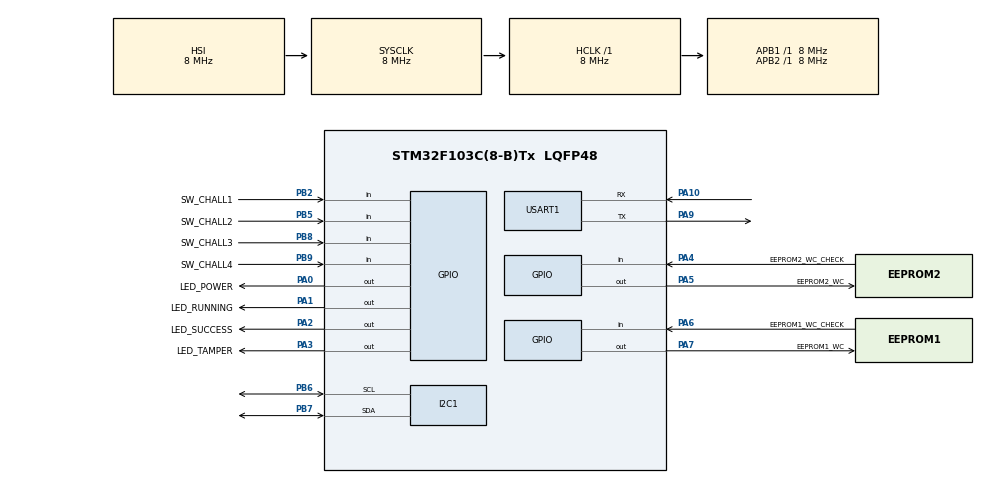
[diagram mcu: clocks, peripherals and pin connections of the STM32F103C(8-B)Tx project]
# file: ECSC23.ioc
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Mcu.Family=STM32F1
Mcu.Name=STM32F103C(8-B)Tx
Mcu.Package=LQFP48
NVIC.PriorityGroup=NVIC_PRIORITYGROUP_4
NVIC.USART1_IRQn=true\:1\:0\:true\:false\:true\:true\:true\:true
PA0-WKUP.GPIO_Label=LED_POWER
PA0-WKUP.PinState=GPIO_PIN_SET
PA0-WKUP.Signal=GPIO_Output
PA1.GPIO_Label=LED_RUNNING
PA1.Signal=GPIO_Output
PA10.Mode=Asynchronous
PA10.Signal=USART1_RX
PA13.Mode=Serial_Wire
PA13.Signal=SYS_JTMS-SWDIO
PA14.Mode=Serial_Wire
PA14.Signal=SYS_JTCK-SWCLK
PA2.GPIO_Label=LED_SUCCESS
PA2.Signal=GPIO_Output
PA3.GPIO_Label=LED_TAMPER
PA3.Signal=GPIO_Output
PA4.GPIO_Label=EEPROM2_WC_CHECK
PA4.Signal=GPIO_Input
PA5.GPIO_Label=EEPROM2_WC
PA5.PinState=GPIO_PIN_SET
PA5.Signal=GPIO_Output
PA6.GPIO_Label=EEPROM1_WC_CHECK
PA6.Signal=GPIO_Input
PA7.GPIO_Label=EEPROM1_WC
PA7.PinState=GPIO_PIN_SET
PA7.Signal=GPIO_Output
PA9.Mode=Asynchronous
PA9.Signal=USART1_TX
PB2.GPIO_Label=SW_CHALL1
PB2.Signal=GPIO_Input
PB5.GPIO_Label=SW_CHALL2
PB5.GPIO_PuPd=GPIO_PULLUP
PB5.Signal=GPIO_Input
PB6.Mode=I2C
PB6.Signal=I2C1_SCL
PB7.Mode=I2C
PB7.Signal=I2C1_SDA
PB8.GPIO_Label=SW_CHALL3
PB8.GPIO_PuPd=GPIO_PULLUP
PB8.Signal=GPIO_Input
PB9.GPIO_Label=SW_CHALL4
PB9.GPIO_PuPd=GPIO_PULLUP
PB9.Signal=GPIO_Input
ProjectManager.HeapSize=0x200
ProjectManager.StackSize=0x400
ProjectManager.TargetToolchain=Makefile
RCC.AHBFreq_Value=8000000
RCC.APB1Freq_Value=8000000
RCC.APB1TimFreq_Value=8000000
RCC.APB2Freq_Value=8000000
RCC.APB2TimFreq_Value=8000000
RCC.HCLKFreq_Value=8000000
RCC.PLLMUL=RCC_PLL_MUL16
RCC.SYSCLKFreq_VALUE=8000000
RCC.USBFreq_Value=64000000
USART1.VirtualMode=VM_ASYNC
board=custom

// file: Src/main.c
/* USER CODE BEGIN Header */
/**
  ******************************************************************************
  * @file           : main.c
  * @brief          : Main program body
  ******************************************************************************
  * @attention
  *
  * Copyright (c) 2023 STMicroelectronics.
  * All rights reserved.
  *
  * This software is licensed under terms that can be found in the LICENSE file
  * in the root directory of this software component.
  * If no LICENSE file comes with this software, it is provided AS-IS.
  *
  ******************************************************************************
  */
/* USER CODE END Header */
#include "main.h"
#include "i2c.h"
#include "usart.h"
#include "gpio.h"

/* USER CODE BEGIN Includes */
#include "security.h"
#include "print.h"
#include "chall1.h"
#include "chall2.h"
#include "chall3.h"
#include "chall4.h"
#include "eeprom.h"
/* USER CODE END Includes */

/* USER CODE BEGIN PV */
volatile int chosen_chall = -1;
/* USER CODE END PV */

void SystemClock_Config(void);

int main(void)
{
  /* USER CODE BEGIN 1 */
  disable_swd();
  /* USER CODE END 1 */

  /* MCU Configuration--------------------------------------------------------*/

  /* Reset of all peripherals, Initializes the Flash interface and the Systick. */
  HAL_Init();

  /* USER CODE BEGIN Init */
  disable_swd();
  /* USER CODE END Init */

  /* Configure the system clock */
  SystemClock_Config();

  /* Initialize all configured peripherals */
  MX_GPIO_Init();
  MX_I2C1_Init();
  MX_USART1_UART_Init();
  /* USER CODE BEGIN 2 */

#ifdef DEBUG
  uart_printf("DEBUG - Build timestamp - %s@%s\r\n", __DATE__, __TIME__);

  uint32_t uid0 = HAL_GetUIDw0();
  uint32_t uid1 = HAL_GetUIDw1();
  uint32_t uid2 = HAL_GetUIDw2();

  uart_printf("DEBUG - HW UID: 0x%08X 0x%08X 0x%08X\r\n", uid0, uid1, uid2);
  uart_printf("DEBUG - FPB regs: 0x%08X 0x%08X 0x%08X 0x%08X\r\n", *(uint32_t*)0xe0002000, *(uint32_t*)0xe0002004, *(uint32_t*)0xe0002008, *(uint32_t*)0xe000200c);
#endif

  check:
  if (HAL_GPIO_ReadPin(SW_CHALL1_GPIO_Port, SW_CHALL1_Pin) && chosen_chall == -1) {
    HAL_GPIO_WritePin(GPIOA, LED_RUNNING_Pin, GPIO_PIN_SET);
    if (chosen_chall != -1) { goto check; }
    uart_printf("Starting challenge 1\r\n");
    if (chosen_chall != -1) { goto check; }
    chosen_chall = 1;
    chall1();
  } else if (HAL_GPIO_ReadPin(SW_CHALL2_GPIO_Port, SW_CHALL2_Pin) && chosen_chall == -1) {
    HAL_GPIO_WritePin(GPIOA, LED_RUNNING_Pin, GPIO_PIN_SET);
    if (chosen_chall != -1) { goto check; }
    uart_printf("Starting challenge 2\r\n");
    if (chosen_chall != -1) { goto check; }
    chosen_chall = 2;
    chall2();
  } else if (HAL_GPIO_ReadPin(SW_CHALL3_GPIO_Port, SW_CHALL3_Pin) && chosen_chall == -1) {
    HAL_GPIO_WritePin(GPIOA, LED_RUNNING_Pin, GPIO_PIN_SET);
    if (chosen_chall != -1) { goto check; }
    uart_printf("Starting challenge 3\r\n");
    if (chosen_chall != -1) { goto check; }
    chosen_chall = 3;
    chall3();
  } else if (HAL_GPIO_ReadPin(SW_CHALL4_GPIO_Port, SW_CHALL4_Pin) && chosen_chall == -1) {
    HAL_GPIO_WritePin(GPIOA, LED_RUNNING_Pin, GPIO_PIN_SET);
    if (chosen_chall != -1) { goto check; }
    uart_printf("Starting challenge 4\r\n");
    if (chosen_chall != -1) { goto check; }
    chosen_chall = 4;
    chall4();
  } else {
    uart_printf("Hold one of the 4 challenge buttons to start them\r\n");

    uint8_t first_byte;
    if (eeprom_read(&first_byte, EEPROM2_ADDR, EEPROM_LEN-1, 1) == HAL_OK && first_byte == 0xFF) {
      uart_printf("EEPROM contents are corrupted. Restoring.\r\n");
      eeprom_restore();
    }

    HAL_GPIO_WritePin(GPIOA, LED_RUNNING_Pin, GPIO_PIN_SET);
    HAL_Delay(500);
    HAL_GPIO_WritePin(GPIOA, LED_RUNNING_Pin, GPIO_PIN_RESET);
    HAL_Delay(500);
    goto check;
  }
  /* USER CODE END 2 */

  /* Infinite loop */
  while (1)
  {

    /* USER CODE BEGIN 3 */
    HAL_GPIO_WritePin(GPIOA, LED_RUNNING_Pin, GPIO_PIN_RESET);
  }
  /* USER CODE END 3 */
}

void SystemClock_Config(void)
{
  RCC_OscInitTypeDef RCC_OscInitStruct = {0};
  RCC_ClkInitTypeDef RCC_ClkInitStruct = {0};

  /** Initializes the RCC Oscillators according to the specified parameters
  * in the RCC_OscInitTypeDef structure.
  */
  RCC_OscInitStruct.OscillatorType = RCC_OSCILLATORTYPE_HSI;
  RCC_OscInitStruct.HSIState = RCC_HSI_ON;
  RCC_OscInitStruct.HSICalibrationValue = RCC_HSICALIBRATION_DEFAULT;
  RCC_OscInitStruct.PLL.PLLState = RCC_PLL_NONE;
  if (HAL_RCC_OscConfig(&RCC_OscInitStruct) != HAL_OK)
  {
    Error_Handler();
  }

  /** Initializes the CPU, AHB and APB buses clocks
  */
  RCC_ClkInitStruct.ClockType = RCC_CLOCKTYPE_HCLK|RCC_CLOCKTYPE_SYSCLK
                              |RCC_CLOCKTYPE_PCLK1|RCC_CLOCKTYPE_PCLK2;
  RCC_ClkInitStruct.SYSCLKSource = RCC_SYSCLKSOURCE_HSI;
  RCC_ClkInitStruct.AHBCLKDivider = RCC_SYSCLK_DIV1;
  RCC_ClkInitStruct.APB1CLKDivider = RCC_HCLK_DIV1;
  RCC_ClkInitStruct.APB2CLKDivider = RCC_HCLK_DIV1;

  if (HAL_RCC_ClockConfig(&RCC_ClkInitStruct, FLASH_LATENCY_0) != HAL_OK)
  {
    Error_Handler();
  }
}

void Error_Handler(void)
{
  /* USER CODE BEGIN Error_Handler_Debug */
  /* User can add their own implementation to report the HAL error return state */
  __disable_irq();
  while (1)
  {
  }
  /* USER CODE END Error_Handler_Debug */
}
